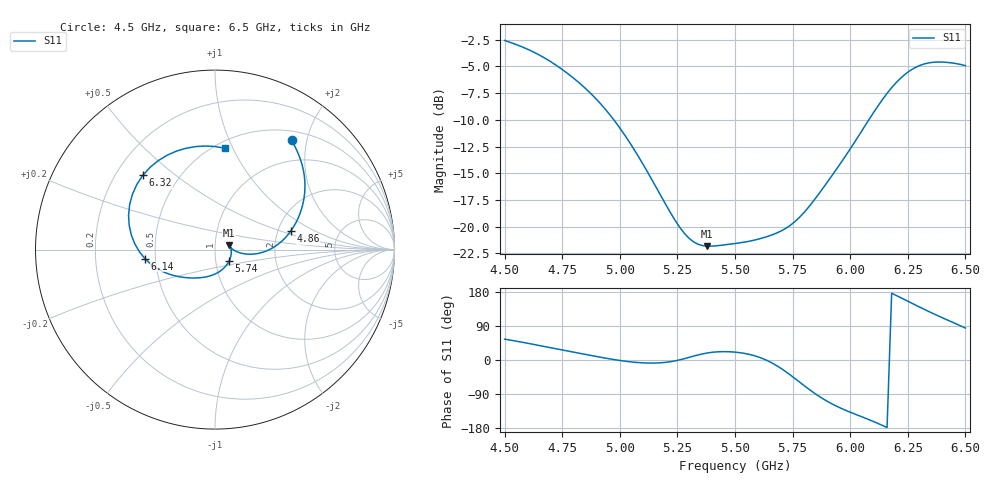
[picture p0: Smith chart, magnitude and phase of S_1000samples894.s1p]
! TOUCHSTONE file generated by CST MICROWAVE STUDIO
! Date and time: Sat Oct 29 17:37:19 2022
! Project name: L.cst
! Parameters = {Di=1.27; Epsilon_r=1.56; InnerDiameter=1.27; Length=2; Lf=10; Lg=60; OuterConductorThickness=0.2921; OuterDiameter=3.6; Wf=3; Wp=41.2; de=1.5; df=6.8; g=0.8; gx=0.480662; gy=0.751687; h=2.34; hf=1.524; px=9.01764; py=10.9423; w=9.7; wx=8.53698; wy=10.1907}
! Header version: 2018
! Port assignment regex: !\s*Touchstone port\s*([0-9]+)\s*=\s*(CST MWS port|CST DS port)\s*([0-9]+|Zmin|Zmax)\s*\(\"(.*)\"\)(\s*mode\s*([0-9]+))?.*
! Touchstone port assignment:
! Touchstone port 1 = CST MWS port 1 ("")
# GHz S DB R 50
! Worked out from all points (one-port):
!   101 points, 4.5 GHz to 6.5 GHz, reference 50 ohm
!   lowest |S11| = -21.8 dB at 5.38 GHz (marker M1), VSWR 1.18, Z = 58.2 + j3.02 ohm
!   |S11| at or under -10 dB: 4.974 GHz to 6.081 GHz (1.107 GHz wide, 20 % of centre)
!   S11 on the Smith chart (normalised r, x): 4.5 GHz: 0.64, +1.74; 4.86 GHz: 2.35, +0.60; 5.74 GHz: 1.16, -0.15; 6.14 GHz: 0.44, -0.05; 6.32 GHz: 0.31, +0.39; 6.5 GHz: 0.56, +0.93
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4.5  -2.57 55.0
4.58  -3.21 46.4
4.64  -3.81 39.5
4.7  -4.56 32.4
4.76  -5.44 25.3
4.86  -7.24 13.7
4.94  -9.08 4.7
5  -10.76 -1.2
5.06  -12.71 -5.7
5.14  -15.63 -8.2
5.26  -20.06 0.4
5.32  -21.43 10.2
5.38  -21.83 18.6
5.5  -21.58 20.7
5.62  -21.06 3.8
5.74  -19.88 -39.5
5.76  -19.53 -48.8
5.88  -16.46 -101.6
6  -12.73 -137.8
6.08  -10.03 -157.1
6.14  -8.10 -172.7
6.2  -6.51 170.2
6.26  -5.39 152.2
6.32  -4.78 134.1
6.36  -4.61 122.6
6.4  -4.59 111.5
6.46  -4.74 95.4
6.5  -4.92 84.4
